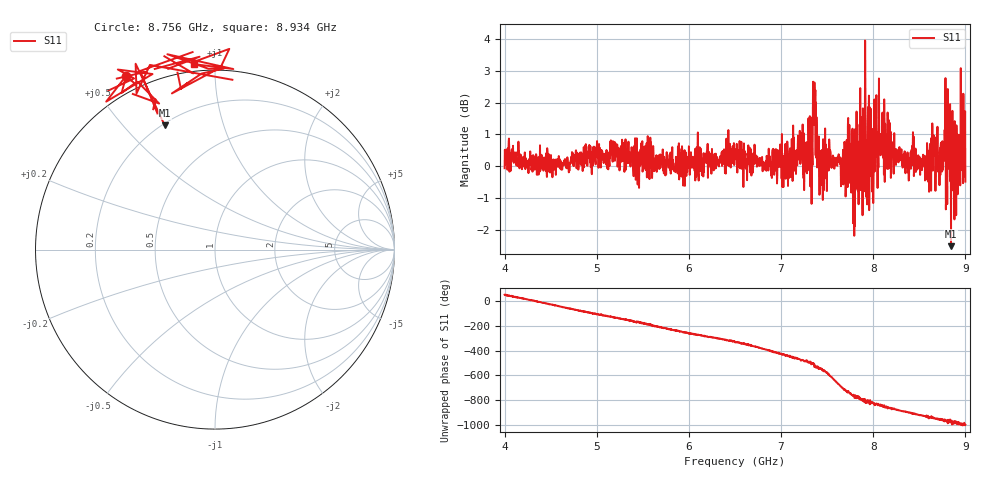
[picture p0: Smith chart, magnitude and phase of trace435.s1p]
! Created with skrf 1.8.0 (http://scikit-rf.org).
# Hz S RI R 50.0
!freq ReS11 ImS11
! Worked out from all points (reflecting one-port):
!   1601 points, 4 GHz to 9 GHz, reference 50 ohm
!   lowest |S11| = -2.5 dB at 8.844 GHz (marker M1), VSWR 6.93, Z = 10.4 + j32.7 ohm
!   phase of S11 starts at 52 deg and turns -1049 deg over the sweep
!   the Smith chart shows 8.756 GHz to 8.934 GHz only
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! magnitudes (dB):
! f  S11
! 4 GHz  -0.1
! 4.625 GHz  -0.1
! 5.25 GHz  0.1
! 5.875 GHz  0.1
! 6.5 GHz  0.2
! 7.125 GHz  -0.5
! 7.209 GHz  0.1
! 7.262 GHz  0.7
! 7.306 GHz  0.2
! 7.362 GHz  2.6
! 7.406 GHz  0.5
! 7.438 GHz  -0.2
! 7.525 GHz  0.7
! 7.656 GHz  0.0
! 7.75 GHz  -0.5
! 7.775 GHz  1.2
! 7.928 GHz  0.6
! 7.981 GHz  -0.1
! 8.088 GHz  0.6
! 8.375 GHz  0.1
! 8.588 GHz  0.5
! 8.647 GHz  -0.1
! 8.728 GHz  -0.3
! 8.809 GHz  2.4
! 8.844 GHz  -2.5
! 8.922 GHz  0.1
! 8.972 GHz  1.0
! 9 GHz  -0.5
